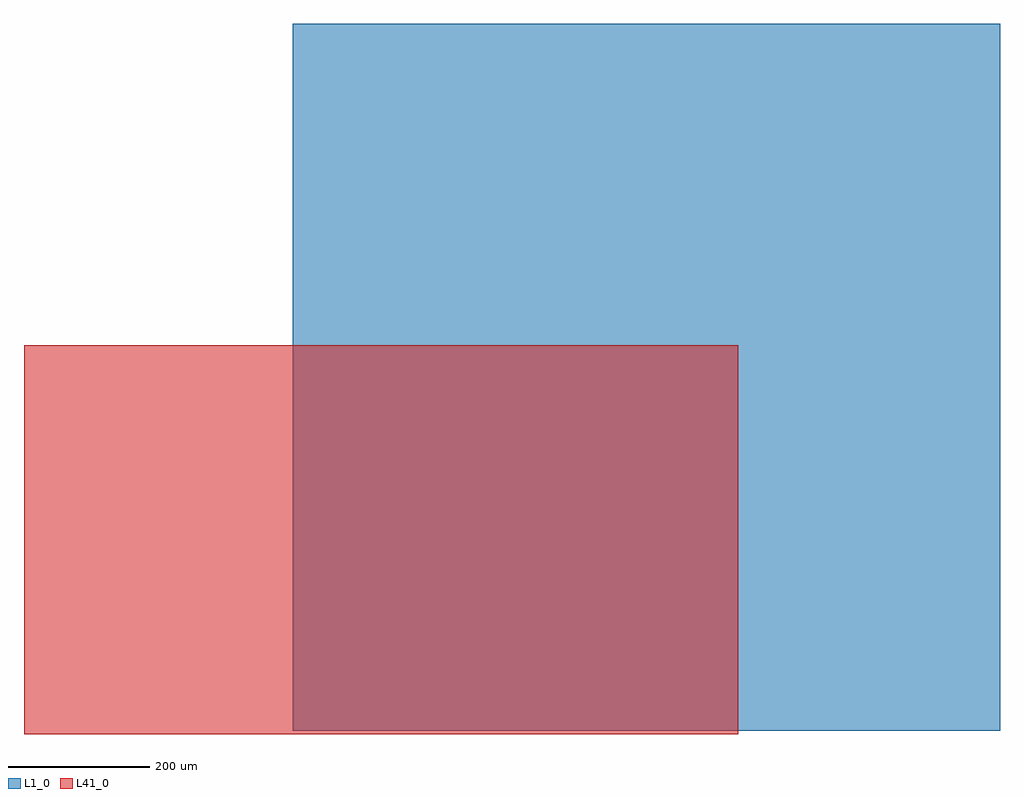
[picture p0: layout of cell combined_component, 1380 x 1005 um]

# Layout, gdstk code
import gdstk
lib = gdstk.Library(unit=1e-6, precision=1e-09)
def R(c, l, rs):  # rectangles x0, y0, x1, y1
    for r in rs: c.add(gdstk.rectangle(r[:2], r[2:], *l))
L1_0 = (1, 0)
L41_0 = (41, 0)

pad_cell_s260_550 = lib.new_cell('pad_cell_S260_550')
R(pad_cell_s260_550, L41_0, [(0,0,260,550)])

array_cpad_cell_s150_15_ = lib.new_cell('array_Cpad_cell_S150_15_ee308b0f')
r = gdstk.Reference(pad_cell_s260_550, (0,0)); r.repetition = gdstk.Repetition(6, 1, v1=(150,0), v2=(0,0)); array_cpad_cell_s150_15_.add(r)

rectangle_s1000_1000_l1_ = lib.new_cell('rectangle_S1000_1000_L1_5c6cfd07')
R(rectangle_s1000_1000_l1_, L1_0, [(0,0,1000,1000)])

combined_component = lib.new_cell('combined_component')
combined_component.add(gdstk.Reference(array_cpad_cell_s150_15_, (0,0)))
combined_component.add(gdstk.Reference(rectangle_s1000_1000_l1_, (380,5)))

lib.write_gds('combined_component.gds')
